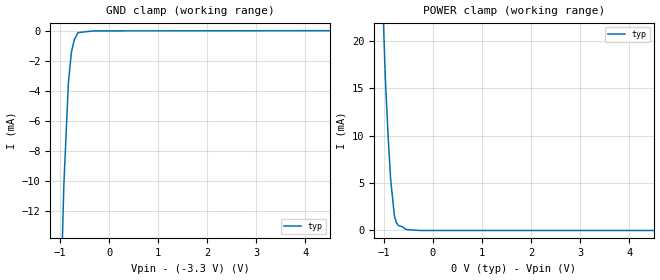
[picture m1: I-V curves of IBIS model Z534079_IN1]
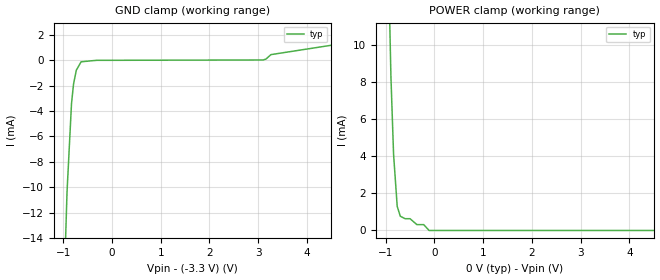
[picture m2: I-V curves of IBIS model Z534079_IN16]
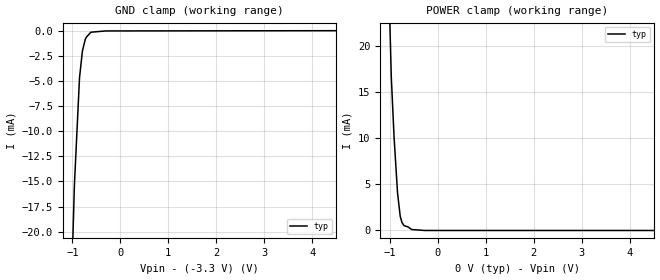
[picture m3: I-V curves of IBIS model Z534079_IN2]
| YOU ARE ONLY AUTHORIZED TO USE THIS SOFTWARE
| ACCORDING TO LICENSOR'S LICENSE RESTRICTIONS.
[IBIS Ver] 3.1
[File Name] mc100lvel29dw.ibs
[File Rev] 2.0
[Source] Measured and created by ICX Technology
[Date] Friday 7/14/00 9:08:21 AM
[Copyright]
| (C) COPYRIGHT 1993-2000
| MENTOR GRAPHICS CORPORATION
| ICX STANDARD LIBRARY, ICX PROJECT MODELING,
| ICX CUSTOM MODELING, ICX VENDOR MODEL
| ALL RIGHTS RESERVED.
| THE FOLLOWING ARE TRADEMARKS OR SERVICE MARKS OF
| MENTOR GRAPHICS CORPORATION:ICX (R), ICX STANDARD
| LIBRARY(R), ICX PROJECT MODELING(R), ICX CUSTOM
| MODELING(R), qualityIBIS(TM), MODELVIEWER(TM),
| AND MODELEDITOR(TM)
| ALL COPIES OF SOFTWARE, INCLUDING BUT NOT LIMITED TO
| ANY MODIFICATIONS, ENHANCEMENTS OR DERIVATIVE WORKS,
| MUST CONTAIN ALL MENTOR GRAPHICS CORPORATION'S
| NOTICES AND LEGENDS, INCLUDING THOSE EMBEDDED IN
| SOFTWARE AND THOSE AFFIXED TO SOFTWARE MEDIUM
| AND CONTAINER, AS RECEIVED FROM MENTOR GRAPHICS
| CORPORATION.
|  ZAP Model Builder 2.7
[Component] MC100LVEL29DW
[Manufacturer] OnSemiconductor
[Package]
| variable   typ   min   max
R_pkg  .178ohms NA NA
L_pkg  4.43nH NA NA
C_pkg  .62pF NA NA
[Pin] signal_name  model_name  R_pin  L_pin C_pin
1 D0 Z534079_IN1 .186 5.37n .68p
2 _D0 Z534079_IN2 .182 4.89n .65p
3 CLK0 Z534079_IN3 .178 4.42n .62p
4 _CLK0 Z534079_IN4 .174 3.96n .59p
5 VBB NC .17 3.51n .56p
6 D1 Z534079_IN1 .17 3.51n .56p
7 _D1 Z534079_IN2 .174 3.96n .59p
8 CLK1 Z534079_IN3 .178 4.42n .62p
9 _CLK1 Z534079_IN4 .182 4.89n .65p
10 R1 Z534079_IN20 .186 5.37n .68p
11 VEE POWER .186 5.37n .68p
12 _Q1 Z534079_OUT17 .182 4.89n .65p
13 Q1 Z534079_OUT18 .178 4.42n .62p
14 VCC POWER .174 3.96n .59p
15 S1 Z534079_IN16 .17 3.51n .56p
16 S0 Z534079_IN16 .17 3.51n .56p
17 _Q0 Z534079_OUT17 .174 3.96n .59p
18 Q0 Z534079_OUT18 .178 4.42n .62p
19 VCC POWER .182 4.89n .65p
20 R0 Z534079_IN20 .186 5.37n .68p
| Models and submodels in the file (8): Z534079_IN1 (Input_ECL), Z534079_IN16 (Input_ECL), Z534079_IN2 (Input_ECL), Z534079_IN20 (Input_ECL), Z534079_IN3 (Input_ECL), Z534079_IN4 (Input_ECL), Z534079_OUT17 (Output_ECL), Z534079_OUT18 (Output_ECL)
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| (C) COPYRIGHT 1993-2000
| MENTOR GRAPHICS CORPORATION
| ICX STANDARD LIBRARY, ICX PROJECT MODELING,
| ICX CUSTOM MODELING, ICX VENDOR MODEL
| ALL RIGHTS RESERVED.
| THE FOLLOWING ARE TRADEMARKS OR SERVICE MARKS OF
| MENTOR GRAPHICS CORPORATION:ICX (R), ICX STANDARD
| LIBRARY(R), ICX PROJECT MODELING(R), ICX CUSTOM
| MODELING(R), qualityIBIS(TM), MODELVIEWER(TM),
| AND MODELEDITOR(TM)
| ALL COPIES OF SOFTWARE, INCLUDING BUT NOT LIMITED TO
| ANY MODIFICATIONS, ENHANCEMENTS OR DERIVATIVE WORKS,
| MUST CONTAIN ALL MENTOR GRAPHICS CORPORATION'S
| NOTICES AND LEGENDS, INCLUDING THOSE EMBEDDED IN
| SOFTWARE AND THOSE AFFIXED TO SOFTWARE MEDIUM
| AND CONTAINER, AS RECEIVED FROM MENTOR GRAPHICS
| CORPORATION.
| Model Application Version 1.89 2/18/99.
[Model] Z534079_IN1
Model_type Input_ECL
Vinl = -1.900V
Vinh = -1.600V
C_comp 4.000pF NA NA
| variable typ   min   max
[Voltage Range] -3.300V NA NA
[GND Clamp Reference] -3.300V NA NA
[POWER Clamp Reference] 0.000V NA NA
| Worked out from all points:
|   GND clamp passes 1 mA (typ) near -0.74 V on its own axis
|   POWER clamp passes 1 mA (typ) near -0.76 V on its own axis
[GND Clamp]
-3.3V     -400.2mA   NA         NA
-1.031V   -23.44mA   NA         NA
-923mV    -10.22mA   NA         NA
-831mV    -3.466mA   NA         NA
-770mV    -1.439mA   NA         NA
-712mV    -602.2uA   NA         NA
-634mV    -119.9uA   NA         NA
-317mV    -8.787uA   NA         NA
6.6V      12.34uA    NA         NA
[POWER Clamp]
-3.3V     1.133A     NA         NA
-1.038V   26.57mA    NA         NA
-970.7mV  16.21mA    NA         NA
-913.2mV  9.973mA    NA         NA
-859.4mV  5.261mA    NA         NA
-784.3mV  1.533mA    NA         NA
-746.7mV  842.3uA    NA         NA
-702.9mV  523.8uA    NA         NA
-624.8mV  400uA      NA         NA
-546.6mV  105.7uA    NA         NA
-273.3mV  0A         NA         NA
6.6V      0A         NA         NA
| (C) COPYRIGHT 1993-2000
| MENTOR GRAPHICS CORPORATION
| ICX STANDARD LIBRARY, ICX PROJECT MODELING,
| ICX CUSTOM MODELING, ICX VENDOR MODEL
| ALL RIGHTS RESERVED.
| THE FOLLOWING ARE TRADEMARKS OR SERVICE MARKS OF
| MENTOR GRAPHICS CORPORATION:ICX (R), ICX STANDARD
| LIBRARY(R), ICX PROJECT MODELING(R), ICX CUSTOM
| MODELING(R), qualityIBIS(TM), MODELVIEWER(TM),
| AND MODELEDITOR(TM)
| ALL COPIES OF SOFTWARE, INCLUDING BUT NOT LIMITED TO
| ANY MODIFICATIONS, ENHANCEMENTS OR DERIVATIVE WORKS,
| MUST CONTAIN ALL MENTOR GRAPHICS CORPORATION'S
| NOTICES AND LEGENDS, INCLUDING THOSE EMBEDDED IN
| SOFTWARE AND THOSE AFFIXED TO SOFTWARE MEDIUM
| AND CONTAINER, AS RECEIVED FROM MENTOR GRAPHICS
| CORPORATION.
| Model Application Version 1.89 2/18/99.
[Model] Z534079_IN16
Model_type Input_ECL
Vinl = -1.900V
Vinh = -1.600V
C_comp 4.000pF NA NA
| variable typ   min   max
[Voltage Range] -3.300V NA NA
[GND Clamp Reference] -3.300V NA NA
[POWER Clamp Reference] 0.000V NA NA
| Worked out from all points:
|   GND clamp passes 1 mA (typ) near -0.74 V on its own axis
|   POWER clamp passes 1 mA (typ) near -0.73 V on its own axis
[GND Clamp]
-3.3V     -404.5mA   NA         NA
-1.031V   -23.97mA   NA         NA
-923mV    -10.38mA   NA         NA
-831mV    -3.414mA   NA         NA
-789mV    -1.87mA    NA         NA
-732mV    -781.4uA   NA         NA
-634mV    -123.8uA   NA         NA
-317mV    -7.914uA   NA         NA
3.102V    19.48uA    NA         NA
3.16V     94.2uA     NA         NA
3.263V    442.3uA    NA         NA
6.6V      2.424mA    NA         NA
[POWER Clamp]
-3.3V     699.8mA    NA         NA
-1.02V    23.32mA    NA         NA
-894.1mV  8.27mA     NA         NA
-839.9mV  4.094mA    NA         NA
-765.2mV  1.296mA    NA         NA
-701.8mV  766uA      NA         NA
-601.7mV  632.8uA    NA         NA
-501.7mV  632.8uA    NA         NA
-361.6mV  314.9uA    NA         NA
-221.5mV  314.9uA    NA         NA
-110.7mV  0A         NA         NA
6.6V      0A         NA         NA
| (C) COPYRIGHT 1993-2000
| MENTOR GRAPHICS CORPORATION
| ICX STANDARD LIBRARY, ICX PROJECT MODELING,
| ICX CUSTOM MODELING, ICX VENDOR MODEL
| ALL RIGHTS RESERVED.
| THE FOLLOWING ARE TRADEMARKS OR SERVICE MARKS OF
| MENTOR GRAPHICS CORPORATION:ICX (R), ICX STANDARD
| LIBRARY(R), ICX PROJECT MODELING(R), ICX CUSTOM
| MODELING(R), qualityIBIS(TM), MODELVIEWER(TM),
| AND MODELEDITOR(TM)
| ALL COPIES OF SOFTWARE, INCLUDING BUT NOT LIMITED TO
| ANY MODIFICATIONS, ENHANCEMENTS OR DERIVATIVE WORKS,
| MUST CONTAIN ALL MENTOR GRAPHICS CORPORATION'S
| NOTICES AND LEGENDS, INCLUDING THOSE EMBEDDED IN
| SOFTWARE AND THOSE AFFIXED TO SOFTWARE MEDIUM
| AND CONTAINER, AS RECEIVED FROM MENTOR GRAPHICS
| CORPORATION.
| Model Application Version 1.89 2/18/99.
[Model] Z534079_IN2
Model_type Input_ECL
Vinl = -1.900V
Vinh = -1.600V
C_comp 4.000pF NA NA
| variable typ   min   max
[Voltage Range] -3.300V NA NA
[GND Clamp Reference] -3.300V NA NA
[POWER Clamp Reference] 0.000V NA NA
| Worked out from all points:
|   GND clamp passes 1 mA (typ) near -0.74 V on its own axis
|   POWER clamp passes 1 mA (typ) near -0.76 V on its own axis
[GND Clamp]
-3.3V     -688.2mA   NA         NA
-1.06V    -32.1mA    NA         NA
-957mV    -15.29mA   NA         NA
-851mV    -4.658mA   NA         NA
-790mV    -1.995mA   NA         NA
-731mV    -845.7uA   NA         NA
-712mV    -656uA     NA         NA
-615mV    -140.4uA   NA         NA
-307.5mV  -13.11uA   NA         NA
6.6V      23.8uA     NA         NA
[POWER Clamp]
-3.3V     894.1mA    NA         NA
-1.004V   23.16mA    NA         NA
-970.6mV  16.63mA    NA         NA
-912.9mV  10.13mA    NA         NA
-840.4mV  4.079mA    NA         NA
-784.5mV  1.534mA    NA         NA
-746.5mV  839.8uA    NA         NA
-703mV    519.6uA    NA         NA
-624.6mV  393.5uA    NA         NA
-546.7mV  105.5uA    NA         NA
-273.4mV  0A         NA         NA
6.6V      0A         NA         NA
